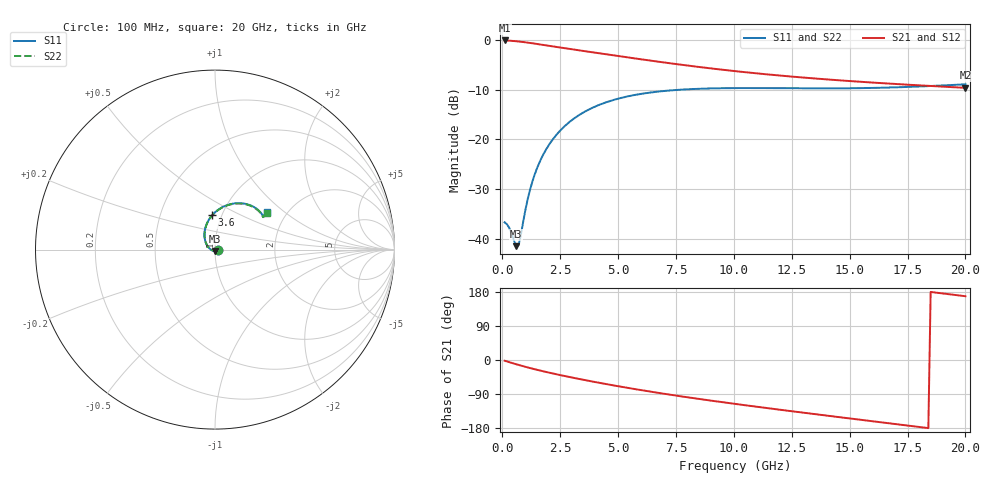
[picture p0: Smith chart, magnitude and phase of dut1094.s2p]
! Touchstone file exported from HFSS 2024.1.0
!  File:  C:/UserFiles/LocalFiles/RDL_TSV_Batchsim/temp_RDL_TSV_1094_1780098680.aedt
!  Generated:  08:02:33 AM May 30, 2026
!  Design:  RDL_TSV
!  Project:  temp_RDL_TSV_1094_1780098680
!  Setup:  Setup1
!  Solution:  Sweep
! Variables:
!  dtsv = 14.57um
!  hbump = 3um
!  htsv = 74.23um
!  ldown = 212.67um
!  lrdl = 478.17um
!  p = 40
!  p1 = 58.98um
!  rhole = 10um
!  subl = 2550.69um
!  t = 450um
!  tdown = 3.69um
!  trdl = 2.83um
!  viad = 10um
!  wdown = 22.28um
!  wrdl = 20.22um
!  xbump = 18um
# GHz S MA R 50.000000
! Terminal data exported
! Port[1] = TM1_1_T1
! Port[2] = TM1_4_T1
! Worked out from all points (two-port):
!   200 points, 100 MHz to 20 GHz, reference 50 ohm
!   highest |S21| = -0.14 dB at 100 MHz (marker M1); lowest = -9.6 dB at 20 GHz (marker M2)
!   |S21| within 3 dB of the highest: start of sweep to 4.819 GHz
!   lowest |S11| = -41.4 dB at 600 MHz (marker M3), VSWR 1.02, Z = 50.2 - j0.834 ohm
!   |S11| at or under -10 dB: start of sweep to 7.752 GHz
!   |S22| runs from -41.4 to -9.0 dB; largest |S21 - S12| = 2.9e-14
!   S11 on the Smith chart (normalised r, x): 100 MHz: 1.03, -0.00; 3.6 GHz: 0.90, +0.36; 20 GHz: 1.60, +0.76
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0.1  0.01475 -6.9  0.9844 -1.9  0.9844 -1.9  0.01475 -6.9
! Gamma 0 0 0 0
! Port Impedance 50 0 50 0
0.3  0.01297 -23.8  0.9797 -5.7  0.9797 -5.7  0.01298 -23.8
0.6  0.008493 -78.2  0.9671 -11.2  0.9671 -11.2  0.00853 -77.9
0.7  0.008651 -110.7  0.9617 -12.9  0.9617 -12.9  0.008664 -110.3
0.8  0.0109 -140.0  0.9559 -14.7  0.9559 -14.7  0.01087 -139.5
1  0.01974 -174.0  0.9432 -18.0  0.9432 -18.0  0.01963 -173.7
1.1  0.02535 175.9  0.9363 -19.7  0.9363 -19.7  0.02519 176.1
1.3  0.03784 161.5  0.9222 -22.9  0.9222 -22.9  0.03761 161.6
1.5  0.05139 150.9  0.9076 -25.9  0.9076 -25.9  0.05108 151.0
1.7  0.06551 142.3  0.8929 -28.9  0.8929 -28.9  0.06513 142.3
2.1  0.09431 128.5  0.864 -34.5  0.864 -34.5  0.09376 128.5
2.5  0.1226 117.5  0.8363 -39.8  0.8363 -39.8  0.1219 117.5
3  0.156 106.1  0.8035 -46.1  0.8035 -46.1  0.1551 106.1
3.5  0.1863 96.5  0.7724 -52.2  0.7724 -52.2  0.1852 96.5
3.6  0.192 94.8  0.7664 -53.4  0.7664 -53.4  0.1909 94.8
5  0.2563 74.9  0.6872 -69.2  0.6872 -69.2  0.2547 74.9
6.8  0.3033 57.7  0.5999 -87.3  0.5999 -87.3  0.3013 57.6
8.4  0.3217 47.5  0.5367 -101.9  0.5367 -101.9  0.3195 47.4
10.1  0.3276 40.4  0.4833 -116.2  0.4833 -116.2  0.3253 40.3
13.4  0.3254 34.4  0.4105 -142.1  0.4105 -142.1  0.323 34.4
16.7  0.3317 34.4  0.3634 -167.0  0.3634 -167.0  0.3294 34.4
20  0.3575 35.4  0.3296 168.3  0.3296 168.3  0.3552 35.3
